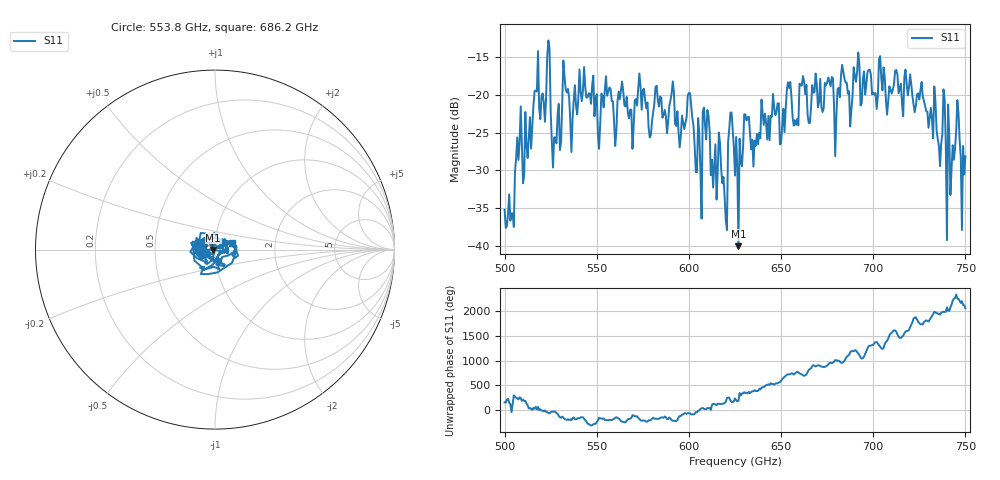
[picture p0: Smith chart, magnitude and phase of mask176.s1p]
!Created with skrf (http://scikit-rf.org).
# GHz S MA R 50.0
!freq magS11 angS11
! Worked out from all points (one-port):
!   401 points, 500 GHz to 750 GHz, reference 50 ohm
!   lowest |S11| = -40.0 dB at 626.9 GHz (marker M1), VSWR 1.02, Z = 49 - j0.178 ohm
!   |S11| at or under -10 dB: start of sweep to end of sweep
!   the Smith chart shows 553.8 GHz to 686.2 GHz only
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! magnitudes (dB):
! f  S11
! 500 GHz  -35.2
! 516.9 GHz  -19.4
! 523.8 GHz  -12.8
! 526.9 GHz  -25.6
! 531.2 GHz  -21.2
! 562.5 GHz  -20.6
! 579.4 GHz  -25.3
! 590.6 GHz  -19.8
! 593.8 GHz  -22.2
! 600.6 GHz  -19.8
! 605.6 GHz  -25.2
! 609.4 GHz  -25.9
! 619.4 GHz  -33.5
! 622.5 GHz  -22.4
! 625 GHz  -30.7
! 626.9 GHz  -40.0
! 631.2 GHz  -23.4
! 635 GHz  -29.5
! 656.2 GHz  -22.9
! 680 GHz  -22.8
! 683.8 GHz  -17.0
! 687.5 GHz  -24.2
! 691.2 GHz  -17.0
! 718.8 GHz  -20.1
! 738.1 GHz  -19.3
! 741.2 GHz  -25.6
! 745.6 GHz  -20.7
! 750 GHz  -28.1
